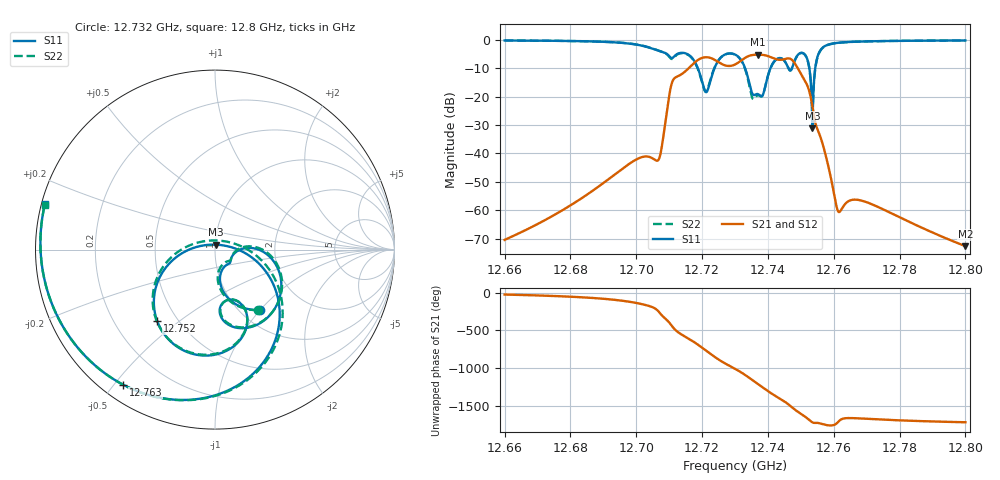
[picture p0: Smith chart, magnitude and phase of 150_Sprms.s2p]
! TOUCHSTONE file generated by CST MICROWAVE STUDIO
! Date and time: Wed Jul 31 18:24:33 2024
! Project name: WaveGuide_BPF-Ver4.1_U-shape_Ku_T3_C4_CWA_2.cst
! Parameters = {cavity_h=16; cavity_l0=10; cavity_l1=15.1921; cavity_l2=16.8604; cavity_l3=17.0885; cavity_l4=17.2545; cavity_l5=17.1184; cavity_l6=17.6041; cavity_r=2.5; cavity_screw_l=0.5; cavity_screw_r=1.5; cavity_w=8; iris_h00=0; iris_h01=8.8407; iris_h112=0; iris_h12=5.5881; iris_h211=3.6582; 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
! Header version: 2018
! Port assignment regex: !\s*Touchstone port\s*([0-9]+)\s*=\s*(CST MWS port|CST DS port)\s*([0-9]+|Zmin|Zmax)\s*\(\"(.*)\"\)(\s*mode\s*([0-9]+))?.*
! Touchstone port assignment:
! Touchstone port 1 = CST MWS port 1 ("")
! Touchstone port 2 = CST MWS port 2 ("")
# GHz S RI R 50
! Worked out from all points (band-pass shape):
!   5001 points, 12.66 GHz to 12.8 GHz, reference 50 ohm
!   highest |S21| = -5.18 dB at 12.737 GHz (marker M1); lowest = -72.7 dB at 12.8 GHz (marker M2)
!   |S21| within 3 dB of the highest: 12.71751 GHz to 12.72554 GHz (8.027 MHz wide, 0.0631 % of centre); 12.73071 GHz to 12.74814 GHz (17.43 MHz wide, 0.137 % of centre)
!   lowest |S11| = -31.1 dB at 12.754 GHz (marker M3), VSWR 1.06, Z = 50.4 + j2.78 ohm
!   |S11| at or under -10 dB: 12.71872 GHz to 12.72374 GHz (5.021 MHz wide, 0.0395 % of centre); 12.73308 GHz to 12.74075 GHz (7.671 MHz wide, 0.0602 % of centre); 12.75259 GHz to 12.75437 GHz (1.785 MHz wide, 0.014 % of centre) (the widest 3 of 4)
!   |S22| runs from -25.8 to -0.2 dB; largest |S21 - S12| = 1e-09
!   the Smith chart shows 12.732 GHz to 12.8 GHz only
!   S11 on the Smith chart (normalised r, x): 12.732 GHz: 1.22, -1.00; 12.752 GHz: 0.39, -0.42; 12.763 GHz: 0.06, -0.53; 12.8 GHz: 0.01, +0.13
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12.66  0.3687 0.9077  0.000269 -0.000132  0.000269 -0.000132  0.3611 0.9109
12.68335  0.794 0.5259  0.000753 -0.00143  0.000753 -0.00143  0.7869 0.5376
12.69769  0.7921 -0.3512  -0.00324 -0.00558  -0.00324 -0.00558  0.8072 -0.3242
12.70668  -0.5011 -0.4161  -0.00308 0.00699  -0.00308 0.00699  -0.4625 -0.4629
12.71158  -0.2639 0.4436  -0.1138 -0.178  -0.1138 -0.178  -0.2934 0.407
12.71639  0.4881 0.184  -0.0306 0.3363  -0.0306 0.3363  0.4766 0.1921
12.72124  -0.0911 -0.0783  0.3106 -0.3876  0.3106 -0.3876  -0.1019 -0.0682
12.72493  0.0308 0.4309  -0.398 -0.0952  -0.398 -0.0952  0.0307 0.4344
12.73  0.5395 -0.1287  0.1379 0.3432  0.1379 0.3432  0.5352 -0.131
12.7321  0.2521 -0.3373  0.4296 0.1094  0.4296 0.1094  0.239 -0.3375
12.73703  0.0848 -0.0714  -0.3953 -0.3833  -0.3953 -0.3833  0.0879 -0.0593
12.74098  0.3315 -0.0714  -0.1141 0.4805  -0.1141 0.4805  0.3319 -0.0594
12.74453  0.1395 -0.4378  0.4486 0.0624  0.4486 0.0624  0.1466 -0.4333
12.74708  0.1045 -0.2805  0.1234 -0.4396  0.1234 -0.4396  0.1059 -0.2789
12.75162  -0.3219 -0.3986  -0.1383 0.1072  -0.1383 0.1072  -0.3292 -0.386
12.75335  -0.0617 0.0237  0.012 0.0759  0.012 0.0759  -0.0687 0.0453
12.75352  0.0047 0.0275  0.0154 0.0655  0.0154 0.0655  -0.00211 0.0511
12.75593  0.2976 -0.586  0.00956 0.0173  0.00956 0.0173  0.3245 -0.5596
12.76298  -0.5103 -0.7534  -0.000726 0.000939  -0.000726 0.000939  -0.4935 -0.7624
12.77668  -0.9263 -0.2535  -0.000312 0.000878  -0.000312 0.000878  -0.9233 -0.2626
12.79994  -0.9474 0.2545  4.74e-05 0.000228  4.74e-05 0.000228  -0.9488 0.2488
12.8  -0.9472 0.2553  4.75e-05 0.000227  4.75e-05 0.000227  -0.9486 0.2497
